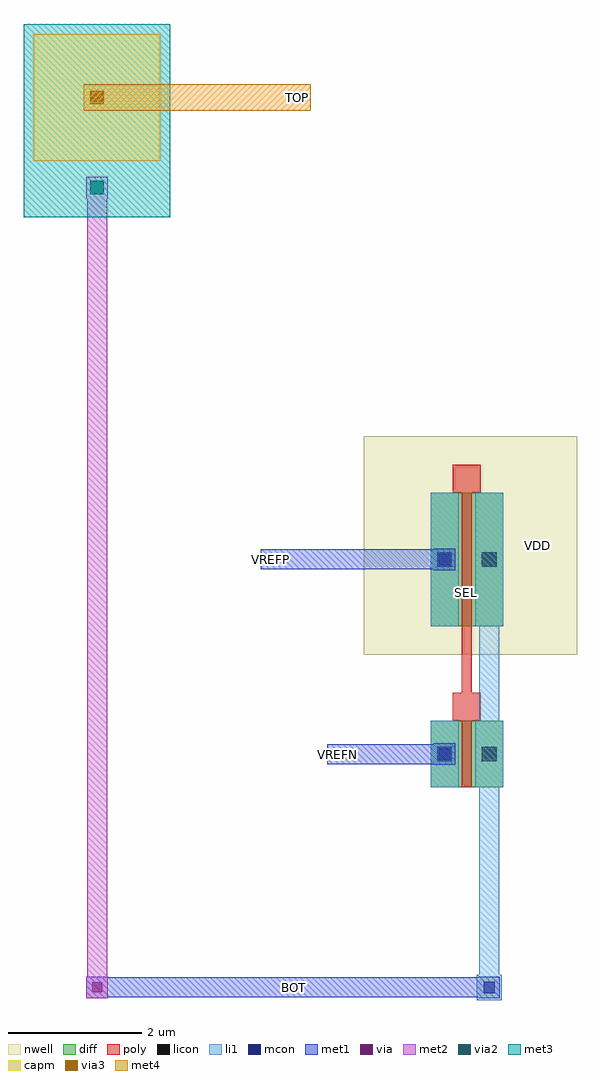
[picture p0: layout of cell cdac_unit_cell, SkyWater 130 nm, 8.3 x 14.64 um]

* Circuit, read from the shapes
.subckt cdac_unit_cell BOT SEL TOP VDD VREFN VREFP
XM1 BOT SEL VREFN VSUBS sky130_fd_pr__nfet_01v8 w=1 l=0.15
XM2 BOT SEL VREFP VDD sky130_fd_pr__pfet_01v8 w=2 l=0.15
XC3 TOP BOT sky130_fd_pr__cap_mim_m3_1 w=1.898 l=1.898
.ends

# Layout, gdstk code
import gdstk
lib = gdstk.Library(unit=1e-6, precision=1e-09)
def R(c, l, rs):  # rectangles x0, y0, x1, y1
    for r in rs: c.add(gdstk.rectangle(r[:2], r[2:], *l))
nwell = (64, 20)
diff = (65, 20)
poly = (66, 20)
licon = (66, 44)
li1 = (67, 20)
mcon = (67, 44)
met1 = (68, 20)
via = (68, 44)
met2 = (69, 20)
via2 = (69, 44)
met3 = (70, 20)
via3 = (70, 44)
met4 = (71, 20)
capm = (89, 44)

cdac_unit_cell = lib.new_cell('cdac_unit_cell')
R(cdac_unit_cell, nwell, [(4,-8.01,7.2,-4.73), (4.85,-7.73,6.24,-5.01)])
R(cdac_unit_cell, diff, [(5,-10,6.09,-9), (5,-7.58,6.09,-5.58)])
R(cdac_unit_cell, poly, [(5.47,-10,5.62,-9), (5.335,-9,5.755,-8.58), (5.47,-8.79,5.62,-5.37), (5.47,-7.58,5.62,-5.58), (5.335,-5.58,5.755,-5.16)])
R(cdac_unit_cell, licon, [(5.1,-9.61,5.32,-9.39), (5.77,-9.61,5.99,-9.39), (5.1,-6.69,5.32,-6.47), (5.77,-6.69,5.99,-6.47)])
R(cdac_unit_cell, li1, [(5.69,-13.19,6.07,-12.81), (5.73,-13.15,6.03,-6.43), (5,-10,5.42,-9), (5.67,-10,6.09,-9), (5.02,-9.69,5.4,-9.31), (5,-7.58,5.42,-5.58), (5.67,-7.58,6.09,-5.58), (5.02,-6.77,5.4,-6.39)])
R(cdac_unit_cell, mcon, [(5.795,-13.085,5.965,-12.915), (5.125,-9.585,5.295,-9.415), (5.125,-6.665,5.295,-6.495)])
R(cdac_unit_cell, met1, [(-0.16,-13.16,0.16,-12.84), (5.72,-13.16,6.04,-12.84), (-0.15,-13.15,6.03,-12.85), (5.05,-9.66,5.37,-9.34), (3.45,-9.65,5.36,-9.35), (5.05,-6.74,5.37,-6.42), (2.45,-6.73,5.36,-6.43)])
R(cdac_unit_cell, via, [(-0.075,-13.075,0.075,-12.925)])
R(cdac_unit_cell, met2, [(-0.16,-13.16,0.16,-12.84), (-0.15,-13.15,0.15,-0.85), (-0.16,-1.16,0.16,-0.84)])
R(cdac_unit_cell, via2, [(-0.1,-1.1,0.1,-0.9)])
R(cdac_unit_cell, met3, [(-1.1,-1.45,1.1,1.45)])
R(cdac_unit_cell, via3, [(-0.1,0.25,0.1,0.45)])
R(cdac_unit_cell, met4, [(-0.2,0.15,3.2,0.55)])
R(cdac_unit_cell, capm, [(-0.949,-0.599,0.949,1.299)])
cdac_unit_cell.add(gdstk.Label('TOP', (3,0.35), layer=71, texttype=5))
cdac_unit_cell.add(gdstk.Label('SEL', (5.545,-7.08), layer=66, texttype=5))
cdac_unit_cell.add(gdstk.Label('BOT', (2.94,-13), layer=68, texttype=5))
cdac_unit_cell.add(gdstk.Label('VREFN', (3.6,-9.5), layer=68, texttype=5))
cdac_unit_cell.add(gdstk.Label('VREFP', (2.6,-6.58), layer=68, texttype=5))
cdac_unit_cell.add(gdstk.Label('VDD', (6.6,-6.37), layer=64, texttype=5))

lib.write_gds('cdac_unit_cell.gds')
